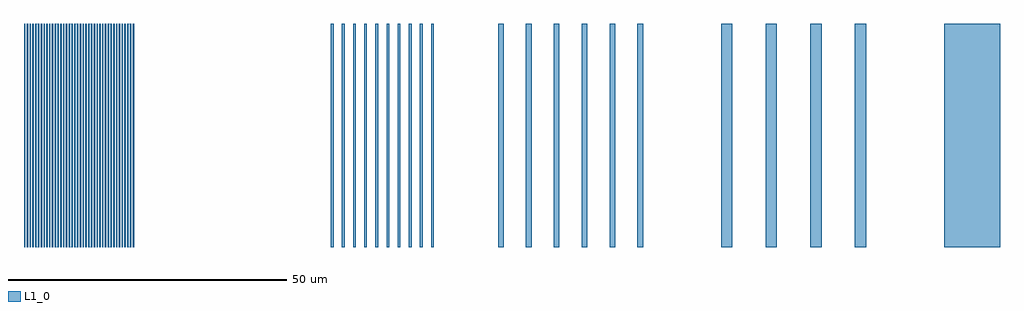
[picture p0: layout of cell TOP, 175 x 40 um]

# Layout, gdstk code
import gdstk
lib = gdstk.Library(unit=1e-6, precision=1e-09)
def R(c, l, rs):  # rectangles x0, y0, x1, y1
    for r in rs: c.add(gdstk.rectangle(r[:2], r[2:], *l))
L1_0 = (1, 0)

l025 = lib.new_cell('L025')
R(l025, L1_0, [(0,0,0.25,40)])

l050 = lib.new_cell('L050')
R(l050, L1_0, [(0,0,0.5,40)])

l100 = lib.new_cell('L100')
R(l100, L1_0, [(0,0,1,40)])

l200 = lib.new_cell('L200')
R(l200, L1_0, [(0,0,2,40)])

top = lib.new_cell('TOP')
R(top, L1_0, [(170,10,180,50)])
r = gdstk.Reference(l025, (5,10)); r.repetition = gdstk.Repetition(40, 1, v1=(0.5,0), v2=(0,1)); top.add(r)
r = gdstk.Reference(l050, (60,10)); r.repetition = gdstk.Repetition(10, 1, v1=(2,0), v2=(0,1)); top.add(r)
r = gdstk.Reference(l100, (90,10)); r.repetition = gdstk.Repetition(6, 1, v1=(5,0), v2=(0,1)); top.add(r)
r = gdstk.Reference(l200, (130,10)); r.repetition = gdstk.Repetition(4, 1, v1=(8,0), v2=(0,1)); top.add(r)

lib.write_gds('TOP.gds')
